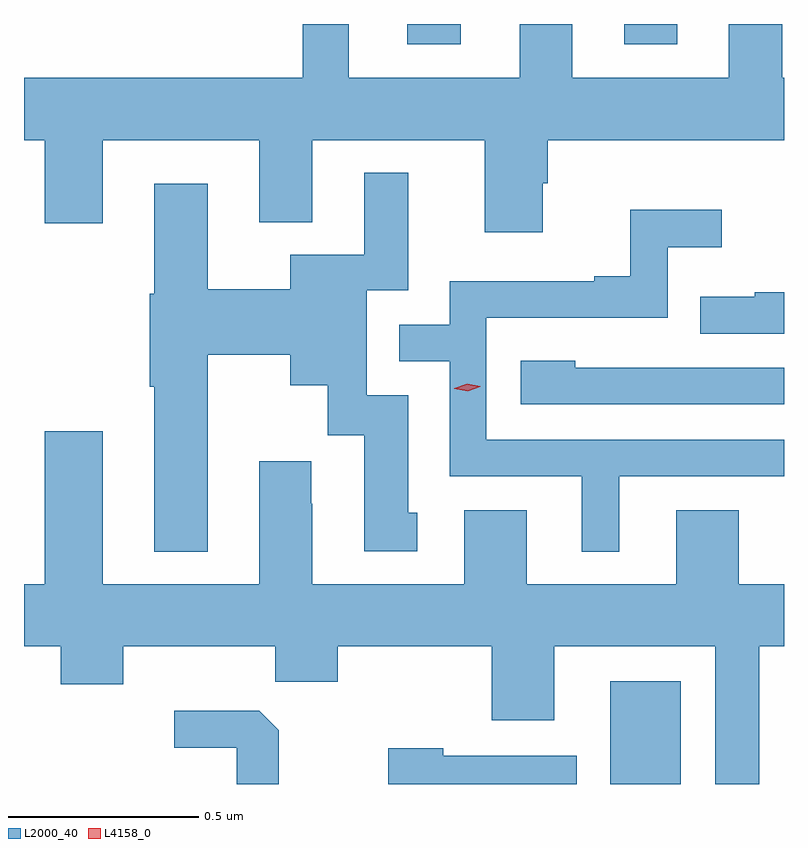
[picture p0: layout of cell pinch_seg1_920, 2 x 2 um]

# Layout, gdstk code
import gdstk
lib = gdstk.Library(unit=1e-6, precision=1e-09)
def R(c, l, rs):  # rectangles x0, y0, x1, y1
    for r in rs: c.add(gdstk.rectangle(r[:2], r[2:], *l))
def P(c, l, *ps):  # polygons
    for p in ps: c.add(gdstk.Polygon(p, *l))
L2000_40 = (2000, 40)
L4158_0 = (4158, 0)

pinch_seg1_920 = lib.new_cell('pinch_seg1_920')
R(pinch_seg1_920, L2000_40, [(616.181,530.058,616.366,530.329), (615.647,532.005,615.787,532.058), (616.217,532.005,616.357,532.058)])
P(pinch_seg1_920, L2000_40, [(614.638,531.752),(614.693,531.752),(614.693,531.534),(614.845,531.534),(614.845,531.752),(615.257,531.752),(615.257,531.536),(615.397,531.536),(615.397,531.752),(615.851,531.752),(615.851,531.51),(616.003,531.51),(616.003,531.639),(616.016,531.639),(616.016,531.752),(616.638,531.752),(616.638,531.916),(616.633,531.916),(616.633,532.058),(616.493,532.058),(616.493,531.916),(616.081,531.916),(616.081,532.058),(615.942,532.058),(615.942,531.916),(615.493,531.916),(615.493,532.058),(615.372,532.058),(615.372,531.916),(614.638,531.916)],
  [(615.121,531.188),(615.338,531.188),(615.338,531.107),(615.437,531.107),(615.437,530.976),(615.533,530.976),(615.533,530.67),(615.673,530.67),(615.673,530.772),(615.649,530.772),(615.649,531.081),(615.54,531.081),(615.54,531.357),(615.649,531.357),(615.649,531.667),(615.533,531.667),(615.533,531.451),(615.338,531.451),(615.338,531.36),(615.121,531.36),(615.121,531.637),(614.981,531.637),(614.981,531.348),(614.969,531.348),(614.969,531.104),(614.981,531.104),(614.981,530.669),(615.121,530.669)],
  [(616.204,530.868),(616.638,530.868),(616.638,530.964),(615.855,530.964),(615.855,531.285),(616.332,531.285),(616.332,531.47),(616.474,531.47),(616.474,531.569),(616.234,531.569),(616.234,531.394),(616.139,531.394),(616.139,531.381),(615.759,531.381),(615.759,531.267),(615.626,531.267),(615.626,531.171),(615.759,531.171),(615.759,530.868),(616.106,530.868),(616.106,530.669),(616.204,530.669)],
  [(616.638,531.352),(616.561,531.352),(616.561,531.34),(616.417,531.34),(616.417,531.243),(616.638,531.243)],
  [(616.638,531.153),(616.325,531.153),(616.325,531.154),(616.089,531.154),(616.089,531.172),(615.945,531.172),(615.945,531.057),(616.638,531.057)],
  [(616.573,530.42),(616.638,530.42),(616.638,530.584),(616.519,530.584),(616.519,530.779),(616.355,530.779),(616.355,530.584),(615.961,530.584),(615.961,530.779),(615.797,530.779),(615.797,530.584),(615.397,530.584),(615.397,530.795),(615.394,530.795),(615.394,530.908),(615.257,530.908),(615.257,530.584),(614.845,530.584),(614.845,530.986),(614.693,530.986),(614.693,530.584),(614.638,530.584),(614.638,530.42),(614.735,530.42),(614.735,530.321),(614.899,530.321),(614.899,530.42),(615.299,530.42),(615.299,530.327),(615.463,530.327),(615.463,530.42),(615.869,530.42),(615.869,530.226),(616.033,530.226),(616.033,530.42),(616.457,530.42),(616.457,530.058),(616.573,530.058)],
  [(615.309,530.199),(615.257,530.251),(615.033,530.251),(615.033,530.154),(615.198,530.154),(615.198,530.058),(615.309,530.058)],
  [(616.092,530.133),(615.741,530.133),(615.741,530.152),(615.597,530.152),(615.597,530.058),(616.092,530.058)])
P(pinch_seg1_920, L4158_0, [(615.806,531.091),(615.77,531.098),(615.77,531.098),(615.77,531.099),(615.804,531.111),(615.839,531.105),(615.839,531.105),(615.839,531.104)])

lib.write_gds('pinch_seg1_920.gds')
